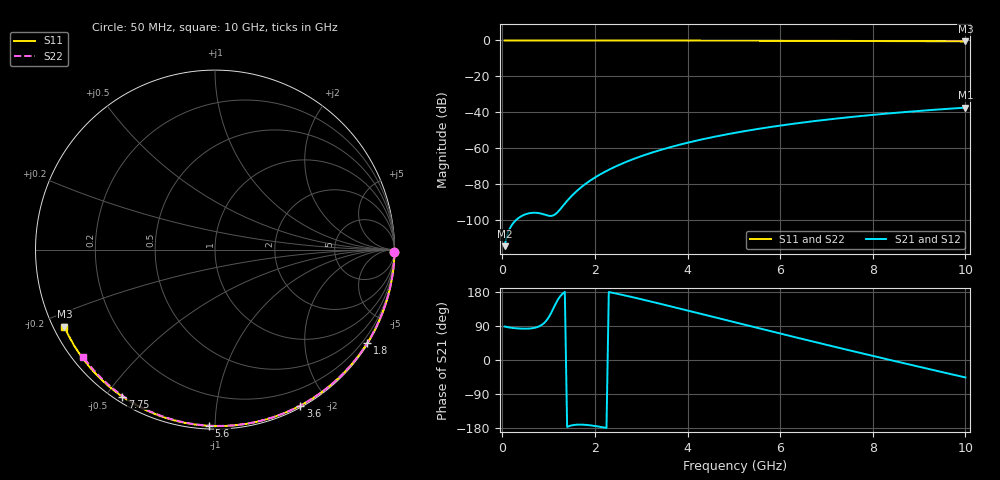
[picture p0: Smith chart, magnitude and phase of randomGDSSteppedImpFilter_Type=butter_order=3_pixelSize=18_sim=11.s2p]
! freq	dB(S11)	phase(S11)	dB(S12)	phase(S12)
!  dB(S21)	phase(S21)	dB(S22)	phase(S22)
!S-par simulation data
#  GHz  S  DB  R 50
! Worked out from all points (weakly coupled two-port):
!   200 points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, 50 MHz to 10 GHz, reference 50 ohm
!   highest |S21| = -37.37 dB at 10 GHz (marker M1); lowest = -114.4 dB at 50 MHz (marker M2)
!   lowest |S11| = -0.5 dB at 10 GHz (marker M3), VSWR 33.70, Z = 1.57 - j12 ohm
!   |S11| at or under -10 dB: nowhere
!   |S22| runs from -0.5 to 0.0 dB; largest |S21 - S12| = 0
!   S11 on the Smith chart (normalised r, x): 50 MHz: open; 1.8 GHz: 0.03, -3.55; 3.6 GHz: 0.02, -1.69; 5.6 GHz: 0.02, -0.97; 7.75 GHz: 0.02, -0.55; 10 GHz: 0.03, -0.24
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0.05  -0.00 -0.9  -114.42 88.4  -114.42 88.4  -0.00 -0.8
0.45  -0.01 -8.0  -97.22 82.6  -97.22 82.6  -0.01 -7.4
0.9  -0.02 -15.9  -96.75 97.2  -96.75 97.2  -0.02 -14.6
1.3  -0.03 -22.9  -92.31 174.9  -92.31 174.9  -0.03 -21.0
1.75  -0.04 -30.6  -80.70 -170.8  -80.70 -170.8  -0.04 -28.2
1.8  -0.04 -31.5  -79.72 -171.2  -79.72 -171.2  -0.04 -29.0
1.95  -0.04 -34.0  -77.05 -173.2  -77.05 -173.2  -0.04 -31.3
2.1  -0.05 -36.6  -74.70 -176.0  -74.70 -176.0  -0.04 -33.7
2.3  -0.05 -40.0  -71.92 179.4  -71.92 179.4  -0.05 -36.8
2.5  -0.06 -43.3  -69.48 174.3  -69.48 174.3  -0.05 -39.9
2.9  -0.07 -50.0  -65.30 163.3  -65.30 163.3  -0.06 -46.0
3.4  -0.08 -58.1  -61.04 148.7  -61.04 148.7  -0.07 -53.6
3.6  -0.08 -61.3  -59.56 142.7  -59.56 142.7  -0.08 -56.5
4.3  -0.10 -72.3  -55.10 121.5  -55.10 121.5  -0.09 -66.8
5.05  -0.13 -83.7  -51.26 98.6  -51.26 98.6  -0.12 -77.4
5.6  -0.15 -91.9  -48.89 81.9  -48.89 81.9  -0.14 -84.9
6.15  -0.18 -99.8  -46.81 65.4  -46.81 65.4  -0.16 -92.3
6.7  -0.21 -107.6  -44.98 48.9  -44.98 48.9  -0.19 -99.6
7.75  -0.28 -122.2  -42.01 18.1  -42.01 18.1  -0.26 -113.0
8.35  -0.33 -130.4  -40.57 0.7  -40.57 0.7  -0.31 -120.5
9.2  -0.42 -142.0  -38.80 -23.5  -38.80 -23.5  -0.39 -131.0
10  -0.52 -152.9  -37.37 -46.0  -37.37 -46.0  -0.48 -140.9
